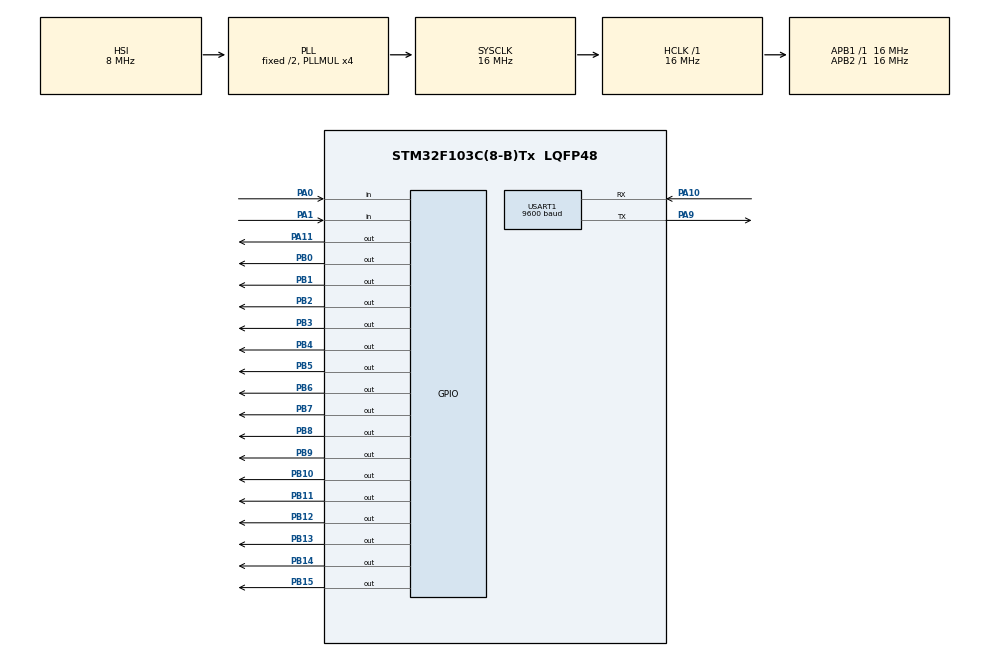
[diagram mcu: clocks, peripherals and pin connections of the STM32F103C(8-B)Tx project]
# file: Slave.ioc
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Mcu.Family=STM32F1
Mcu.Name=STM32F103C(8-B)Tx
Mcu.Package=LQFP48
NVIC.PriorityGroup=NVIC_PRIORITYGROUP_4
NVIC.USART1_IRQn=true\:0\:0\:false\:false\:true\:true\:true\:true
PA0-WKUP.GPIO_PuPd=GPIO_PULLUP
PA0-WKUP.Signal=GPIO_Input
PA1.GPIO_PuPd=GPIO_PULLUP
PA1.Signal=GPIO_Input
PA10.Mode=Asynchronous
PA10.Signal=USART1_RX
PA11.Signal=GPIO_Output
PA13.Mode=Serial_Wire
PA13.Signal=SYS_JTMS-SWDIO
PA14.Mode=Serial_Wire
PA14.Signal=SYS_JTCK-SWCLK
PA9.Mode=Asynchronous
PA9.Signal=USART1_TX
PB0.Signal=GPIO_Output
PB1.Signal=GPIO_Output
PB10.Signal=GPIO_Output
PB11.Signal=GPIO_Output
PB12.Signal=GPIO_Output
PB13.Signal=GPIO_Output
PB14.Signal=GPIO_Output
PB15.Signal=GPIO_Output
PB2.Signal=GPIO_Output
PB3.Signal=GPIO_Output
PB4.Signal=GPIO_Output
PB5.Signal=GPIO_Output
PB6.Signal=GPIO_Output
PB7.Signal=GPIO_Output
PB8.Signal=GPIO_Output
PB9.Signal=GPIO_Output
PD0-OSC_IN.Mode=HSE-External-Clock-Source
PD0-OSC_IN.Signal=RCC_OSC_IN
PD1-OSC_OUT.Mode=HSE-External-Clock-Source
PD1-OSC_OUT.Signal=RCC_OSC_OUT
ProjectManager.HeapSize=0x200
ProjectManager.StackSize=0x400
ProjectManager.TargetToolchain=STM32CubeIDE
RCC.AHBFreq_Value=16000000
RCC.APB1Freq_Value=16000000
RCC.APB1TimFreq_Value=16000000
RCC.APB2Freq_Value=16000000
RCC.APB2TimFreq_Value=16000000
RCC.HCLKFreq_Value=16000000
RCC.PLLMUL=RCC_PLL_MUL4
RCC.SYSCLKFreq_VALUE=16000000
RCC.SYSCLKSource=RCC_SYSCLKSOURCE_PLLCLK
RCC.USBFreq_Value=16000000
USART1.BaudRate=9600
USART1.VirtualMode=VM_ASYNC
board=custom

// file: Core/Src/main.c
/* USER CODE BEGIN Header */
/**
  ******************************************************************************
  * @file           : main.c
  * @brief          : Main program body
  ******************************************************************************
  * @attention
  *
  * Copyright (c) 2025 STMicroelectronics.
  * All rights reserved.
  *
  * This software is licensed under terms that can be found in the LICENSE file
  * in the root directory of this software component.
  * If no LICENSE file comes with this software, it is provided AS-IS.
  *
  ******************************************************************************
  */
/* USER CODE END Header */
#include "main.h"

/* USER CODE BEGIN PD */
#define RS485_TX_MODE() HAL_GPIO_WritePin(GPIOA, GPIO_PIN_11, GPIO_PIN_SET) // DE = RE = 1
#define RS485_RX_MODE() HAL_GPIO_WritePin(GPIOA, GPIO_PIN_11, GPIO_PIN_RESET) // DE = RE = 0

#define MASTER_ID 0x00
#define SLAVE_ID 0x03
/* USER CODE END PD */

UART_HandleTypeDef huart1;

void SystemClock_Config(void);
static void MX_GPIO_Init(void);
static void MX_USART1_UART_Init(void);

/* USER CODE BEGIN 0 */
uint8_t slave_data = 0;
uint8_t slave_data_next = 0;
uint8_t temp = 0;
uint8_t SendRequest;
uint8_t rx_buf[2];

void RS485_SendRequest(uint8_t data)
{
	uint8_t frame[2];
	frame[0] = SLAVE_ID;
	frame[1] = data;
	RS485_TX_MODE();
	HAL_Delay(5);
	HAL_UART_Transmit(&huart1, frame, 2, 100);
	HAL_Delay(5);
	RS485_RX_MODE();
}

void HAL_UART_RxCpltCallback(UART_HandleTypeDef *huart)
{
	if (huart == &huart1)
	{
		if (rx_buf[0] == MASTER_ID && rx_buf[1] == SLAVE_ID)
		{
			SendRequest = 1;
			slave_data_next = temp;
			temp = 0;
		}

		if (rx_buf[0] > SLAVE_ID)
		{
			temp += rx_buf[1];
		}

		HAL_UART_Receive_IT(&huart1, rx_buf, 2);
	}
}

void Display_7seg (uint8_t data_next, uint8_t data)
{
	uint8_t code_7seg[10] = {0xC0, 0xF9, 0xA4, 0xB0, 0x99, 0x92, 0x82, 0xF8, 0x80, 0x90};
	GPIOB->ODR = code_7seg[data_next] | (code_7seg[data] << 8);
}
/* USER CODE END 0 */

int main(void)
{

  /* MCU Configuration--------------------------------------------------------*/

  /* Reset of all peripherals, Initializes the Flash interface and the Systick. */
  HAL_Init();

  /* Configure the system clock */
  SystemClock_Config();

  /* Initialize all configured peripherals */
  MX_GPIO_Init();
  MX_USART1_UART_Init();
  /* USER CODE BEGIN 2 */
  SendRequest = 0;
  HAL_UART_Receive_IT(&huart1, rx_buf, 2);
  /* USER CODE END 2 */

  /* Infinite loop */
  /* USER CODE BEGIN WHILE */

  while (1)
  {
	  //slave_data = HAL_GPIO_ReadPin(GPIOB, GPIO_PIN_0) + HAL_GPIO_ReadPin(GPIOB, GPIO_PIN_1);
	  if (SendRequest)
	  {
		  RS485_SendRequest(slave_data);
		  SendRequest = 0;
	  }
    /* USER CODE END WHILE */

    /* USER CODE BEGIN 3 */
	  slave_data = HAL_GPIO_ReadPin(GPIOA, GPIO_PIN_0) + HAL_GPIO_ReadPin(GPIOA, GPIO_PIN_1);
	  Display_7seg(slave_data_next, slave_data);
	  /*
	  uint8_t i, j;
	  for (i = 0; i < 10; i++)
	  {
		  for (j = 0; j < 10; j++)
		  {
			  Display_7seg(i, j);
			  HAL_Delay(1000);
		  }
	  }*/
  }
  /* USER CODE END 3 */
}

void SystemClock_Config(void)
{
  RCC_OscInitTypeDef RCC_OscInitStruct = {0};
  RCC_ClkInitTypeDef RCC_ClkInitStruct = {0};

  /** Initializes the RCC Oscillators according to the specified parameters
  * in the RCC_OscInitTypeDef structure.
  */
  RCC_OscInitStruct.OscillatorType = RCC_OSCILLATORTYPE_HSI;
  RCC_OscInitStruct.HSIState = RCC_HSI_ON;
  RCC_OscInitStruct.HSICalibrationValue = RCC_HSICALIBRATION_DEFAULT;
  RCC_OscInitStruct.PLL.PLLState = RCC_PLL_ON;
  RCC_OscInitStruct.PLL.PLLSource = RCC_PLLSOURCE_HSI_DIV2;
  RCC_OscInitStruct.PLL.PLLMUL = RCC_PLL_MUL4;
  if (HAL_RCC_OscConfig(&RCC_OscInitStruct) != HAL_OK)
  {
    Error_Handler();
  }

  /** Initializes the CPU, AHB and APB buses clocks
  */
  RCC_ClkInitStruct.ClockType = RCC_CLOCKTYPE_HCLK|RCC_CLOCKTYPE_SYSCLK
                              |RCC_CLOCKTYPE_PCLK1|RCC_CLOCKTYPE_PCLK2;
  RCC_ClkInitStruct.SYSCLKSource = RCC_SYSCLKSOURCE_PLLCLK;
  RCC_ClkInitStruct.AHBCLKDivider = RCC_SYSCLK_DIV1;
  RCC_ClkInitStruct.APB1CLKDivider = RCC_HCLK_DIV1;
  RCC_ClkInitStruct.APB2CLKDivider = RCC_HCLK_DIV1;

  if (HAL_RCC_ClockConfig(&RCC_ClkInitStruct, FLASH_LATENCY_0) != HAL_OK)
  {
    Error_Handler();
  }
}

static void MX_USART1_UART_Init(void)
{

  huart1.Instance = USART1;
  huart1.Init.BaudRate = 9600;
  huart1.Init.WordLength = UART_WORDLENGTH_8B;
  huart1.Init.StopBits = UART_STOPBITS_1;
  huart1.Init.Parity = UART_PARITY_NONE;
  huart1.Init.Mode = UART_MODE_TX_RX;
  huart1.Init.HwFlowCtl = UART_HWCONTROL_NONE;
  huart1.Init.OverSampling = UART_OVERSAMPLING_16;
  if (HAL_UART_Init(&huart1) != HAL_OK)
  {
    Error_Handler();
  }

}

static void MX_GPIO_Init(void)
{
  GPIO_InitTypeDef GPIO_InitStruct = {0};

  /* GPIO Ports Clock Enable */
  __HAL_RCC_GPIOD_CLK_ENABLE();
  __HAL_RCC_GPIOA_CLK_ENABLE();
  __HAL_RCC_GPIOB_CLK_ENABLE();

  /*Configure GPIO pin Output Level */
  HAL_GPIO_WritePin(GPIOB, GPIO_PIN_0|GPIO_PIN_1|GPIO_PIN_2|GPIO_PIN_10
                          |GPIO_PIN_11|GPIO_PIN_12|GPIO_PIN_13|GPIO_PIN_14
                          |GPIO_PIN_15|GPIO_PIN_3|GPIO_PIN_4|GPIO_PIN_5
                          |GPIO_PIN_6|GPIO_PIN_7|GPIO_PIN_8|GPIO_PIN_9, GPIO_PIN_RESET);

  /*Configure GPIO pin Output Level */
  HAL_GPIO_WritePin(GPIOA, GPIO_PIN_11, GPIO_PIN_RESET);

  /*Configure GPIO pins : PA0 PA1 */
  GPIO_InitStruct.Pin = GPIO_PIN_0|GPIO_PIN_1;
  GPIO_InitStruct.Mode = GPIO_MODE_INPUT;
  GPIO_InitStruct.Pull = GPIO_PULLUP;
  HAL_GPIO_Init(GPIOA, &GPIO_InitStruct);

  /*Configure GPIO pins : PB0 PB1 PB2 PB10
                           PB11 PB12 PB13 PB14
                           PB15 PB3 PB4 PB5
                           PB6 PB7 PB8 PB9 */
  GPIO_InitStruct.Pin = GPIO_PIN_0|GPIO_PIN_1|GPIO_PIN_2|GPIO_PIN_10
                          |GPIO_PIN_11|GPIO_PIN_12|GPIO_PIN_13|GPIO_PIN_14
                          |GPIO_PIN_15|GPIO_PIN_3|GPIO_PIN_4|GPIO_PIN_5
                          |GPIO_PIN_6|GPIO_PIN_7|GPIO_PIN_8|GPIO_PIN_9;
  GPIO_InitStruct.Mode = GPIO_MODE_OUTPUT_PP;
  GPIO_InitStruct.Pull = GPIO_NOPULL;
  GPIO_InitStruct.Speed = GPIO_SPEED_FREQ_LOW;
  HAL_GPIO_Init(GPIOB, &GPIO_InitStruct);

  /*Configure GPIO pin : PA11 */
  GPIO_InitStruct.Pin = GPIO_PIN_11;
  GPIO_InitStruct.Mode = GPIO_MODE_OUTPUT_PP;
  GPIO_InitStruct.Pull = GPIO_NOPULL;
  GPIO_InitStruct.Speed = GPIO_SPEED_FREQ_LOW;
  HAL_GPIO_Init(GPIOA, &GPIO_InitStruct);

}

void Error_Handler(void)
{
  __disable_irq();
  while (1)
  {
  }
}
